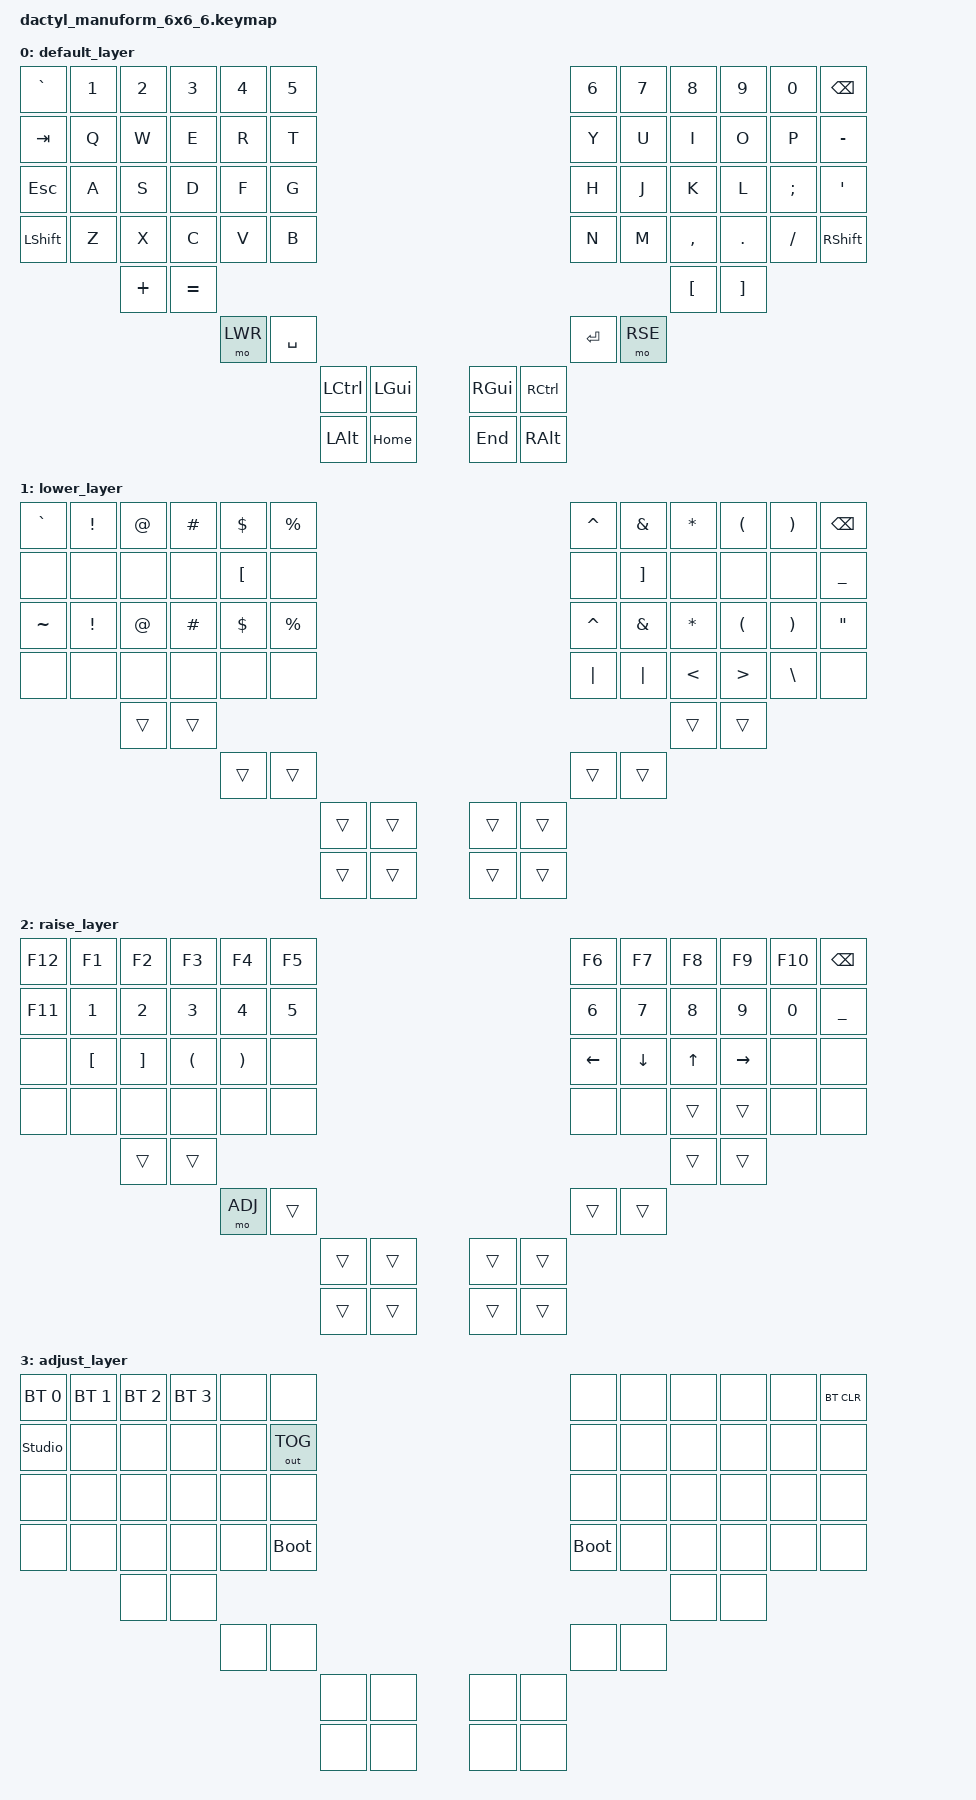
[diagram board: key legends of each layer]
#include <behaviors.dtsi>
#include <dt-bindings/zmk/keys.h>
#include <dt-bindings/zmk/bt.h>
#include <dt-bindings/zmk/outputs.h>

#define DEFAULT 0
#define LWR 1
#define RSE 2
#define ADJ 3

/ {
    keymap {
        compatible = "zmk,keymap";

        default_layer {
            bindings = <
                &kp GRAVE &kp N1 &kp N2   &kp N3 &kp N4 &kp N5              &kp N6 &kp N7 &kp N8    &kp N9  &kp N0   &kp BSPC
                &kp TAB   &kp Q  &kp W    &kp E  &kp R  &kp T               &kp Y  &kp U  &kp I     &kp O   &kp P    &kp MINUS
                &kp ESC   &kp A  &kp S    &kp D  &kp F  &kp G               &kp H  &kp J  &kp K     &kp L   &kp SEMI &kp SQT
                &kp LSHFT &kp Z  &kp X    &kp C  &kp V  &kp B               &kp N  &kp M  &kp COMMA &kp DOT &kp FSLH &kp RSHFT
                                 &kp PLUS &kp EQUAL                                       &kp LBKT  &kp RBKT
                                            &mo LWR   &kp SPACE             &kp RET  &mo RSE
                                            &kp LCTRL &kp LGUI              &kp RGUI &kp RCTRL
                                            &kp LALT  &kp HOME              &kp END  &kp RALT
            >;
        };

        lower_layer {
            bindings = <
                &kp GRAVE &kp EXCL &kp AT   &kp HASH   &kp DLLR &kp PRCNT       &kp CARET &kp AMPS &kp STAR &kp LPAR  &kp RPAR  &kp BSPC
                &none     &none    &none    &none      &kp LBKT &none           &none     &kp RBKT &none    &none     &none     &kp UNDER
                &kp TILDE &kp EXCL &kp AT   &kp HASH   &kp DLLR &kp PRCNT       &kp CARET &kp AMPS &kp STAR &kp LPAR  &kp RPAR  &kp DQT
                &none     &none    &none    &none      &none    &none           &kp PIPE  &kp PIPE &kp LT   &kp GT    &kp BSLH  &none
                                   &trans   &trans                                                   &trans &trans
                                                       &trans   &trans          &trans &trans
                                                       &trans   &trans          &trans &trans
                                                       &trans   &trans          &trans &trans
            >;
        };

        raise_layer {
            bindings = <
                &kp F12 &kp F1   &kp F2   &kp F3     &kp F4   &kp F5          &kp F6    &kp F7   &kp F8   &kp F9    &kp F10  &kp BSPC
                &kp F11 &kp N1   &kp N2   &kp N3     &kp N4   &kp N5          &kp N6    &kp N7   &kp N8   &kp N9    &kp N0   &kp UNDER
                &none   &kp LBKT &kp RBKT &kp LPAR   &kp RPAR &none           &kp LEFT  &kp DOWN &kp UP   &kp RIGHT &none    &none
                &none   &none    &none    &none      &none    &none           &none     &none    &trans   &trans    &none    &none
                                   &trans &trans                                                 &trans   &trans
                                                       &mo ADJ  &trans           &trans &trans
                                                       &trans   &trans           &trans &trans
                                                       &trans   &trans           &trans &trans
            >;
        };

        adjust_layer {
            bindings = <
                &bt BT_SEL 0   &bt BT_SEL 1 &bt BT_SEL 2 &bt BT_SEL 3 &none  &none            &none       &none  &none &none &none &bt BT_CLR
                &studio_unlock &none        &none        &none        &none  &out OUT_TOG     &none       &none  &none &none &none &none
                &none          &none        &none        &none        &none  &none            &none       &none  &none &none &none &none
                &none          &none        &none        &none        &none  &bootloader      &bootloader &none  &none &none &none &none
                                          &none        &none                                            &none &none
                                                                    &none &none             &none &none
                                                                    &none &none             &none &none
                                                                    &none &none             &none &none
            >;
        };
    };
};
